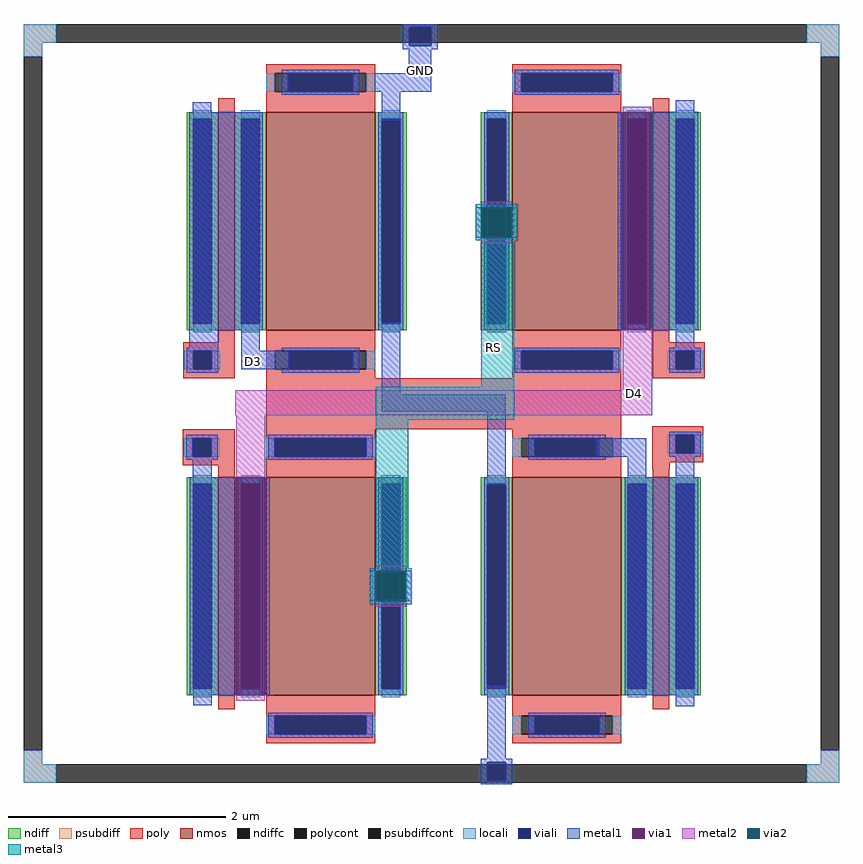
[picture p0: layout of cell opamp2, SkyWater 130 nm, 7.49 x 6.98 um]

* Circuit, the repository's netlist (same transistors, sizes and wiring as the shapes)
* NGSPICE file created from opamp2.ext - technology: sky130A

.subckt sky130_fd_pr__nfet_01v8_46AAJJ a_100_n200# a_n158_n200# a_n100_n288# VSUBS
X0 a_100_n200# a_n100_n288# a_n158_n200# VSUBS sky130_fd_pr__nfet_01v8 ad=0.58 pd=4.58 as=0.58 ps=4.58 w=2 l=1
.ends

.subckt sky130_fd_pr__nfet_01v8_S44669 a_100_n200# a_n158_n200# a_n100_n288# VSUBS
X0 a_100_n200# a_n100_n288# a_n158_n200# VSUBS sky130_fd_pr__nfet_01v8 ad=0.58 pd=4.58 as=0.58 ps=4.58 w=2 l=1
.ends

.subckt sky130_fd_pr__nfet_01v8_G7FSPD a_15_n200# a_n15_n226# a_n73_n200# VSUBS
X0 a_15_n200# a_n15_n226# a_n73_n200# VSUBS sky130_fd_pr__nfet_01v8 ad=0.58 pd=4.58 as=0.58 ps=4.58 w=2 l=0.15
.ends

.subckt opamp2 D4 GND D3 RS
Xsky130_fd_pr__nfet_01v8_46AAJJ_0 GND D3 D3 GND sky130_fd_pr__nfet_01v8_46AAJJ
Xsky130_fd_pr__nfet_01v8_46AAJJ_1 D3 GND D3 GND sky130_fd_pr__nfet_01v8_46AAJJ
Xsky130_fd_pr__nfet_01v8_S44669_2 RS D4 D3 GND sky130_fd_pr__nfet_01v8_S44669
Xsky130_fd_pr__nfet_01v8_S44669_3 D4 RS D3 GND sky130_fd_pr__nfet_01v8_S44669
Xsky130_fd_pr__nfet_01v8_G7FSPD_0 D4 D4 D4 GND sky130_fd_pr__nfet_01v8_G7FSPD
Xsky130_fd_pr__nfet_01v8_G7FSPD_1 D3 D3 D3 GND sky130_fd_pr__nfet_01v8_G7FSPD
Xsky130_fd_pr__nfet_01v8_G7FSPD_2 D4 D4 D4 GND sky130_fd_pr__nfet_01v8_G7FSPD
Xsky130_fd_pr__nfet_01v8_G7FSPD_3 D3 D3 D3 GND sky130_fd_pr__nfet_01v8_G7FSPD
.ends

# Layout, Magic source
magic
tech sky130A
magscale 1 2
<< psubdiff >>
rect -387 608 -327 642
rect 1050 608 1110 642
rect -387 582 -353 608
rect 1076 582 1110 608
rect -387 -717 -353 -691
rect 1076 -717 1110 -691
rect -387 -751 -327 -717
rect 1050 -751 1110 -717
<< psubdiffcont >>
rect -327 608 1050 642
rect -387 -691 -353 582
rect 1076 -691 1110 582
rect -327 -751 1050 -717
<< poly >>
rect -23 58 0 62
rect -94 42 0 58
rect -94 8 -76 42
rect -42 8 0 42
rect -94 -8 0 8
rect 768 42 863 58
rect 768 8 810 42
rect 844 8 863 42
rect 768 -8 863 8
rect 58 -102 710 -8
rect -95 -118 0 -102
rect -95 -152 -77 -118
rect -43 -152 0 -118
rect -95 -167 0 -152
rect 767 -112 860 -96
rect 767 -146 810 -112
rect 844 -146 860 -112
rect 767 -162 860 -146
rect -95 -168 -27 -167
rect 767 -175 799 -162
<< polycont >>
rect -76 8 -42 42
rect 810 8 844 42
rect -77 -152 -43 -118
rect 810 -146 844 -112
<< locali >>
rect -387 608 -327 642
rect 1050 608 1110 642
rect -387 582 -353 608
rect 1076 582 1110 608
rect -92 8 -76 42
rect -42 8 -26 42
rect 794 8 810 42
rect 844 8 860 42
rect -93 -152 -77 -118
rect -43 -152 -27 -118
rect 794 -146 810 -112
rect 844 -146 860 -112
rect -387 -717 -353 -691
rect 1076 -717 1110 -691
rect -387 -751 -327 -717
rect 1050 -751 1110 -717
<< viali >>
rect 321 608 361 636
rect 321 602 361 608
rect -76 8 -42 42
rect 810 8 844 42
rect -77 -152 -43 -118
rect 810 -146 844 -112
rect 464 -717 498 -713
rect 464 -747 498 -717
<< metal1 >>
rect 309 636 373 642
rect 309 602 321 636
rect 361 602 373 636
rect 309 596 373 602
rect 320 552 361 596
rect 257 518 361 552
rect -77 480 -43 498
rect -83 80 52 480
rect 270 464 304 518
rect 810 481 844 502
rect 713 480 851 481
rect 443 250 453 306
rect 509 250 519 306
rect -83 48 -30 80
rect -88 42 -30 48
rect -88 8 -76 42
rect -42 8 -30 42
rect 12 42 46 80
rect 12 8 100 42
rect -88 2 -30 8
rect 270 -38 304 95
rect 703 81 713 480
rect 765 81 851 480
rect 703 80 851 81
rect 810 48 844 80
rect 798 42 856 48
rect 798 8 810 42
rect 844 8 856 42
rect 798 2 856 8
rect 270 -70 498 -38
rect -89 -118 -31 -112
rect -89 -152 -77 -118
rect -43 -152 -31 -118
rect -89 -158 -31 -152
rect -77 -190 -42 -158
rect -82 -590 3 -190
rect 55 -590 65 -190
rect 464 -205 498 -70
rect 798 -112 856 -106
rect 663 -152 756 -118
rect 798 -146 810 -112
rect 844 -146 856 -112
rect 798 -152 856 -146
rect 722 -190 756 -152
rect 810 -190 844 -152
rect 249 -418 259 -362
rect 315 -418 325 -362
rect -76 -608 -42 -590
rect 464 -707 498 -572
rect 716 -590 851 -190
rect 810 -610 844 -590
rect 452 -713 510 -707
rect 452 -747 464 -713
rect 498 -747 510 -713
rect 452 -753 510 -747
<< via1 >>
rect 453 250 509 306
rect 713 81 765 480
rect 3 -590 55 -190
rect 259 -418 315 -362
<< metal2 >>
rect 713 480 765 490
rect 453 306 509 316
rect 453 240 509 250
rect 765 81 767 84
rect 713 -30 767 81
rect 1 -76 767 -30
rect 3 -190 56 -76
rect 259 -362 315 -352
rect 259 -428 315 -418
rect 3 -600 55 -590
<< via2 >>
rect 453 250 509 306
rect 259 -418 315 -362
<< metal3 >>
rect 443 306 519 311
rect 443 250 453 306
rect 509 250 519 306
rect 443 245 519 250
rect 453 -24 513 245
rect 259 -84 513 -24
rect 259 -357 319 -84
rect 249 -362 325 -357
rect 249 -418 259 -362
rect 315 -418 325 -362
rect 249 -423 325 -418
use sky130_fd_pr__nfet_01v8_46AAJJ  sky130_fd_pr__nfet_01v8_46AAJJ_0
transform 1 0 158 0 1 280
box -158 -288 158 288
use sky130_fd_pr__nfet_01v8_46AAJJ  sky130_fd_pr__nfet_01v8_46AAJJ_1
transform 1 0 610 0 1 -390
box -158 -288 158 288
use sky130_fd_pr__nfet_01v8_G7FSPD  sky130_fd_pr__nfet_01v8_G7FSPD_0
transform 1 0 -15 0 1 -390
box -73 -226 73 226
use sky130_fd_pr__nfet_01v8_G7FSPD  sky130_fd_pr__nfet_01v8_G7FSPD_1
transform 1 0 -15 0 1 280
box -73 -226 73 226
use sky130_fd_pr__nfet_01v8_G7FSPD  sky130_fd_pr__nfet_01v8_G7FSPD_2
transform 1 0 783 0 1 280
box -73 -226 73 226
use sky130_fd_pr__nfet_01v8_G7FSPD  sky130_fd_pr__nfet_01v8_G7FSPD_3
transform 1 0 783 0 1 -390
box -73 -226 73 226
use sky130_fd_pr__nfet_01v8_S44669  sky130_fd_pr__nfet_01v8_S44669_2
transform 1 0 158 0 1 -390
box -158 -288 158 288
use sky130_fd_pr__nfet_01v8_S44669  sky130_fd_pr__nfet_01v8_S44669_3
transform 1 0 610 0 1 280
box -158 -288 158 288
<< labels >>
flabel metal2 735 -37 735 -37 0 FreeSans 640 0 0 0 D4
port 1 nsew
flabel metal1 34 20 36 25 0 FreeSans 640 0 0 0 D3
port 6 nsew
flabel metal3 475 48 475 48 0 FreeSans 320 0 0 0 RS
port 9 nsew
flabel metal1 341 556 341 556 0 FreeSans 640 0 0 0 GND
port 4 nsew
<< end >>

# cell sky130_fd_pr__nfet_01v8_46AAJJ: kit device sky130_fd_pr__nfet_01v8, w 2 l 1 m 1 nf 1 diffcov 100 polycov 100 guard 0 glc 1 grc 1 gtc 1 gbc 1 tbcov 100 rlcov 100 topc 1 botc 1 poverlap 0 doverlap 1 lmin 0.15 wmin 0.42 compatible {sky130_fd_pr__nfet_01v8 sky130_fd_pr__nfet_01v8_lvt sky130_fd_bs_flash__special_sonosfet_star sky130_fd_pr__nfet_g5v0d10v5 sky130_fd_pr__nfet_05v0_nvt sky130_fd_pr__nfet_03v3_nvt} full_metal 1 viasrc 100 viadrn 100 viagate 70 viagb 0 viagr 0 viagl 0 viagt 0

# cell sky130_fd_pr__nfet_01v8_G7FSPD: kit device sky130_fd_pr__nfet_01v8, w 2 l 0.15 m 1 nf 1 diffcov 100 polycov 100 guard 0 glc 1 grc 1 gtc 1 gbc 1 tbcov 100 rlcov 100 topc 0 botc 0 poverlap 0 doverlap 0 lmin 0.15 wmin 0.42 compatible {sky130_fd_pr__nfet_01v8 sky130_fd_pr__nfet_01v8_lvt sky130_fd_bs_flash__special_sonosfet_star sky130_fd_pr__nfet_g5v0d10v5 sky130_fd_pr__nfet_05v0_nvt sky130_fd_pr__nfet_03v3_nvt} full_metal 0 viasrc 100 viadrn 100 viagate 100 viagb 0 viagr 0 viagl 0 viagt 0

# cell sky130_fd_pr__nfet_01v8_S44669: kit device sky130_fd_pr__nfet_01v8, w 2 l 1 m 1 nf 1 diffcov 100 polycov 100 guard 0 glc 1 grc 1 gtc 1 gbc 1 tbcov 100 rlcov 100 topc 1 botc 1 poverlap 0 doverlap 1 lmin 0.15 wmin 0.42 compatible {sky130_fd_pr__nfet_01v8 sky130_fd_pr__nfet_01v8_lvt sky130_fd_bs_flash__special_sonosfet_star sky130_fd_pr__nfet_g5v0d10v5 sky130_fd_pr__nfet_05v0_nvt sky130_fd_pr__nfet_03v3_nvt} full_metal 1 viasrc 100 viadrn 100 viagate 100 viagb 0 viagr 0 viagl 0 viagt 0
